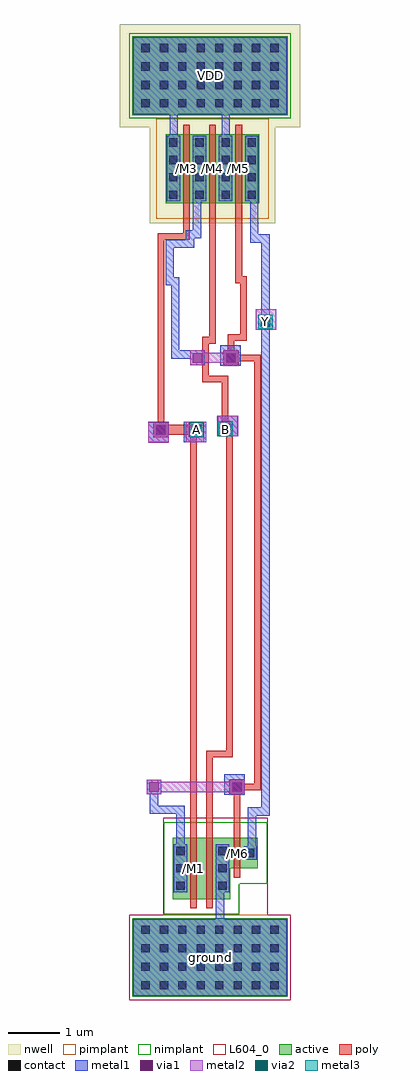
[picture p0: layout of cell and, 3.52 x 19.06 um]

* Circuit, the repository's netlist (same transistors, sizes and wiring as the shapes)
* LVS netlist generated with ICnet by 'egrvlsi07' on Thu Apr  4 2019 at 16:40:57

*
* Globals.
*
.global ground VDD

*
* Component pathname : $VLSI/Project/and
*
.subckt and  Y A B

        M6 Y N$54 ground ground nmos l=0.13u w=0.6u m=1
        M5 Y N$54 VDD VDD pmos l=0.13u w=1.35u m=1
        M4 N$54 B VDD VDD pmos l=0.13u w=1.35u m=1
        M3 N$54 A VDD VDD pmos l=0.13u w=1.35u m=1
        M2 N$29 B ground ground nmos l=0.13u w=1.2u m=1
        M1 N$54 A N$29 ground nmos l=0.13u w=1.2u m=1
.ends and

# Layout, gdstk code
import gdstk
lib = gdstk.Library(unit=1e-6, precision=1e-09)
def R(c, l, rs):  # rectangles x0, y0, x1, y1
    for r in rs: c.add(gdstk.rectangle(r[:2], r[2:], *l))
def A(c, l, x, y, w, h, nx, ny, dx, dy):  # array of equal rectangles
    R(c, l, [(x+i*dx, y+j*dy, x+i*dx+w, y+j*dy+h) for i in range(nx) for j in range(ny)])
def P(c, l, *ps):  # polygons
    for p in ps: c.add(gdstk.Polygon(p, *l))
nwell = (3, 0)
active = (6, 0)
poly = (17, 0)
pimplant = (25, 0)
nimplant = (26, 0)
contact = (30, 0)
metal1 = (31, 0)
metal2 = (32, 0)
metal3 = (33, 0)
via1 = (51, 0)
via2 = (52, 0)
L604_0 = (604, 0)

m2m3 = lib.new_cell('M2M3')
R(m2m3, metal2, [(-0.145,-0.145,0.145,0.145)])
R(m2m3, metal3, [(-0.145,-0.145,0.145,0.145)])
R(m2m3, via2, [(-0.095,-0.095,0.095,0.095)])

m1m2 = lib.new_cell('M1M2')
R(m1m2, metal1, [(-0.145,-0.145,0.145,0.145)])
R(m1m2, metal2, [(-0.145,-0.145,0.145,0.145)])
R(m1m2, via1, [(-0.095,-0.095,0.095,0.095)])

poly_m1 = lib.new_cell('POLY_M1')
R(poly_m1, poly, [(-0.15,-0.15,0.15,0.15)])
R(poly_m1, contact, [(-0.08,-0.08,0.08,0.08)])
R(poly_m1, metal1, [(-0.13,-0.13,0.13,0.13)])

and_ = lib.new_cell('and')
R(and_, nwell, [(24.095,109.78,26.545,111.91), (23.51,111.65,27.03,113.67)])
R(and_, active, [(23.75,94.67,26.79,96.21), (24.405,110.17,26.235,111.52), (23.75,111.89,26.79,113.43)])
P(and_, active, [(26.205,97.78),(26.205,97.18),(25.665,97.18),(25.665,96.58),(24.545,96.58),(24.545,97.78)])
A(and_, poly, 24.745, 109.99, 0.13, 0.18, 3, 2, 0.51, 1.53)
A(and_, poly, 24.745, 110.17, 0.13, 1.35, 3, 1, 0.51, 0)
R(and_, poly, [(24.885,96.4,25.015,96.58), (25.195,96.4,25.325,96.58), (24.885,96.58,25.015,97.78), (25.195,96.58,25.325,97.78), (25.735,97,25.865,97.18), (25.735,97.18,25.865,97.78), (24.885,97.78,25.015,97.96), (25.195,97.78,25.325,97.96), (25.735,97.78,25.865,97.96), (24.885,97.83,25.015,105.81), (25.735,97.83,25.865,98.835), (24.21,105.645,25.105,105.845)])
P(and_, poly, [(25.615,107.085),(25.745,107.085),(25.745,107.48),(25.99,107.48),(25.99,108.74),(25.895,108.74),(25.895,110.12),(25.765,110.12),(25.765,108.61),(25.86,108.61),(25.86,107.61),(25.615,107.61)],
  [(25.195,97.83),(25.325,97.83),(25.325,99.35),(25.715,99.35),(25.715,105.83),(25.585,105.83),(25.585,99.48),(25.195,99.48)],
  [(24.245,105.68),(24.375,105.68),(24.375,109.455),(24.875,109.455),(24.875,110.12),(24.745,110.12),(24.745,109.585),(24.245,109.585)],
  [(25.115,106.67),(25.5,106.67),(25.5,105.7),(25.63,105.7),(25.63,106.8),(25.245,106.8),(25.245,107.43),(25.385,107.43),(25.385,110.12),(25.255,110.12),(25.255,107.56),(25.115,107.56)],
  [(25.615,107.085),(26.13,107.085),(26.13,98.835),(25.735,98.835),(25.735,98.705),(26.26,98.705),(26.26,107.215),(25.615,107.215)])
R(and_, pimplant, [(23.69,94.61,26.85,96.27), (24.225,109.87,26.415,111.82)])
R(and_, nimplant, [(23.69,111.83,26.85,113.49)])
P(and_, nimplant, [(26.385,98.08),(26.385,96.88),(25.845,96.88),(25.845,96.28),(24.365,96.28),(24.365,98.08)])
A(and_, contact, 23.93, 94.82, 0.16, 0.16, 8, 4, 0.36, 0.36)
A(and_, contact, 24.615, 96.76, 0.16, 0.16, 1, 3, 0, 0.34)
A(and_, contact, 25.435, 96.76, 0.16, 0.16, 1, 3, 0, 0.34)
A(and_, contact, 24.475, 110.255, 0.16, 0.16, 4, 4, 0.51, 0.34)
A(and_, contact, 23.93, 112.04, 0.16, 0.16, 8, 4, 0.36, 0.36)
R(and_, contact, [(25.975,97.4,26.135,97.56)])
A(and_, metal1, 24.425, 110.205, 0.26, 1.28, 4, 1, 0.51, 0)
R(and_, metal1, [(23.77,94.69,26.77,96.19), (23.77,94.69,26.77,96.19), (25.385,96.03,25.545,96.87), (24.565,96.71,24.825,97.65), (25.385,96.71,25.645,97.65), (25.925,97.35,26.185,97.61), (25.55,98.62,25.95,99.02), (24.06,105.5,24.46,105.9), (24.755,105.505,25.155,105.905), (25.41,105.615,25.81,106.015), (25.475,107,25.875,107.4), (24.485,111.325,24.645,112.07), (25.5,111.325,25.66,112.07), (23.77,111.91,26.77,113.41), (23.77,111.91,26.77,113.41)])
P(and_, metal1, [(24.095,98.245),(24.615,98.245),(24.615,97.49),(24.775,97.49),(24.775,98.405),(24.255,98.405),(24.255,98.85),(24.095,98.85)],
  [(24.405,108.565),(24.51,108.565),(24.51,107.135),(25.105,107.135),(25.105,107.295),(24.67,107.295),(24.67,108.725),(24.565,108.725),(24.565,109.3),(24.96,109.3),(24.96,109.485),(25.095,109.485),(25.095,110.365),(24.935,110.365),(24.935,109.645),(24.8,109.645),(24.8,109.46),(24.405,109.46)],
  [(26.01,97.45),(26.17,97.45),(26.17,98.21),(26.435,98.21),(26.435,109.56),(26.215,109.56),(26.215,110.365),(26.055,110.365),(26.055,109.4),(26.275,109.4),(26.275,98.37),(26.01,98.37)])
R(and_, metal2, [(24.075,98.67,25.9,98.87), (24.06,105.495,24.46,105.895), (24.8,105.505,25.2,105.905), (25.42,105.615,25.82,106.015), (24.925,107.05,25.78,107.25), (26.16,107.695,26.56,108.095)])
R(and_, metal3, [(24.905,105.645,25.105,105.845), (25.465,105.645,25.665,105.845), (26.255,107.76,26.455,107.96)])
R(and_, L604_0, [(23.69,94.61,26.85,96.27), (24.355,96.19,26.395,98.17)])
and_.add(gdstk.Reference(m2m3, (25.005,105.745)))
and_.add(gdstk.Reference(m1m2, (25.005,105.745)))
and_.add(gdstk.Reference(m1m2, (24.175,98.77)))
and_.add(gdstk.Reference(poly_m1, (25.005,105.745)))
and_.add(gdstk.Reference(m1m2, (25.025,107.15)))
and_.add(gdstk.Reference(poly_m1, (25.68,107.15)))
and_.add(gdstk.Reference(m1m2, (25.68,107.15)))
and_.add(gdstk.Reference(poly_m1, (25.565,105.765)))
and_.add(gdstk.Reference(m1m2, (25.565,105.765)))
and_.add(gdstk.Reference(m2m3, (25.565,105.765)))
and_.add(gdstk.Reference(poly_m1, (24.31,105.745)))
and_.add(gdstk.Reference(m1m2, (24.31,105.745)))
and_.add(gdstk.Reference(m2m3, (25.005,105.745)))
and_.add(gdstk.Reference(poly_m1, (25.8,98.77)))
and_.add(gdstk.Reference(m1m2, (25.8,98.77)))
and_.add(gdstk.Reference(m1m2, (26.355,107.85)))
and_.add(gdstk.Reference(m2m3, (26.355,107.85)))
and_.add(gdstk.Label('/M3', (24.81,110.845), layer=17, texttype=0))
and_.add(gdstk.Label('/M4', (25.32,110.845), layer=17, texttype=0))
and_.add(gdstk.Label('/M5', (25.83,110.845), layer=17, texttype=0))
and_.add(gdstk.Label('/M1', (24.95,97.18), layer=17, texttype=0))
and_.add(gdstk.Label('/M2', (25.26,97.18), layer=17, texttype=0))
and_.add(gdstk.Label('/M6', (25.8,97.48), layer=17, texttype=0))
and_.add(gdstk.Label('A', (25.005,105.745), layer=133, texttype=0))
and_.add(gdstk.Label('B', (25.565,105.745), layer=133, texttype=0))
and_.add(gdstk.Label('Y', (26.355,107.86), layer=133, texttype=0))
and_.add(gdstk.Label('VDD', (25.27,112.66), layer=131, texttype=0))
and_.add(gdstk.Label('ground', (25.27,95.44), layer=131, texttype=0))

lib.write_gds('and.gds')
